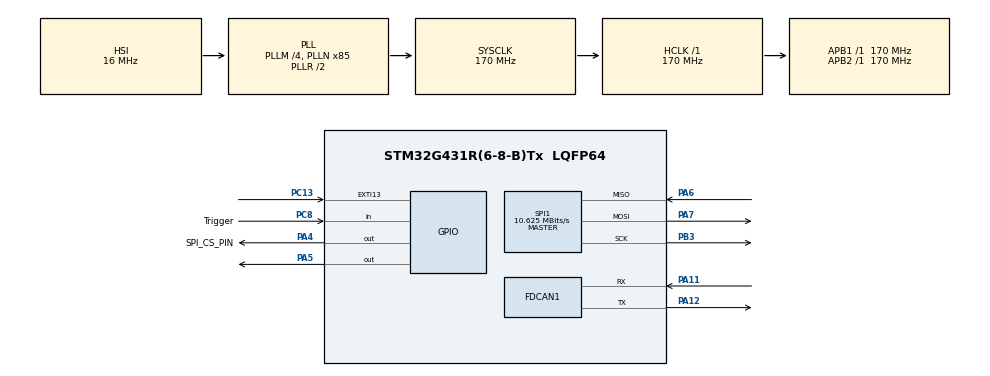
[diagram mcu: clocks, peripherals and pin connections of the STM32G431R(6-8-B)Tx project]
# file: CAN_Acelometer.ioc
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FDCAN1.AutoRetransmission=ENABLE
FDCAN1.CalculateBaudRateNominal=500000
FDCAN1.CalculateTimeBitNominal=2000
FDCAN1.CalculateTimeQuantumNominal=200.0
FDCAN1.NominalPrescaler=34
FDCAN1.NominalTimeSeg1=6
FDCAN1.NominalTimeSeg2=3
Mcu.Family=STM32G4
Mcu.Name=STM32G431R(6-8-B)Tx
Mcu.Package=LQFP64
NUCLEO-G431RB.BUTTON=1
NUCLEO-G431RB.LD1=true
NUCLEO-G431RB.VCP=true
NVIC.EXTI15_10_IRQn=true\:0\:0\:false\:false\:true\:false\:true\:true
NVIC.FDCAN1_IT0_IRQn=true\:0\:0\:false\:false\:true\:true\:true\:true
NVIC.FDCAN1_IT1_IRQn=true\:0\:0\:false\:false\:true\:true\:true\:true
NVIC.PriorityGroup=NVIC_PRIORITYGROUP_4
NVIC.TIM2_IRQn=true\:0\:0\:false\:false\:true\:true\:true\:true
PA11.Mode=FDCAN_Activate
PA11.Signal=FDCAN1_RX
PA12.Mode=FDCAN_Activate
PA12.Signal=FDCAN1_TX
PA13.GPIO_Label=T_SWDIO
PA13.Signal=SYS_JTMS-SWDIO
PA14.GPIO_Label=T_SWCLK
PA14.Signal=SYS_JTCK-SWCLK
PA2.Signal=LPUART1_TX
PA3.Signal=LPUART1_RX
PA4.GPIO_Label=SPI_CS_PIN
PA4.Signal=GPIO_Output
PA5.Signal=GPIO_Output
PA6.Mode=Full_Duplex_Master
PA6.Signal=SPI1_MISO
PA7.Mode=Full_Duplex_Master
PA7.Signal=SPI1_MOSI
PB3.Mode=Full_Duplex_Master
PB3.Signal=SPI1_SCK
PC13.Signal=GPXTI13
PC14-OSC32_IN.GPIO_Label=RCC_OSC32_OUT
PC14-OSC32_IN.Signal=RCC_OSC32_IN
PC15-OSC32_OUT.GPIO_Label=RCC_OSC32_OUT
PC15-OSC32_OUT.Signal=RCC_OSC32_OUT
PC8.GPIO_Label=Trigger
PC8.GPIO_PuPd=GPIO_PULLDOWN
PC8.Signal=GPIO_Input
PF0-OSC_IN.GPIO_Label=RCC_OSC_IN
PF0-OSC_IN.Signal=RCC_OSC_IN
PF1-OSC_OUT.GPIO_Label=RCC_OSC_OUT
PF1-OSC_OUT.Signal=RCC_OSC_OUT
ProjectManager.HeapSize=0x200
ProjectManager.StackSize=0x400
ProjectManager.TargetToolchain=STM32CubeIDE
RCC.ADC12Freq_Value=170000000
RCC.AHBFreq_Value=170000000
RCC.APB1Freq_Value=170000000
RCC.APB1TimFreq_Value=170000000
RCC.APB2Freq_Value=170000000
RCC.APB2TimFreq_Value=170000000
RCC.CortexFreq_Value=170000000
RCC.EXTERNAL_CLOCK_VALUE=12288000
RCC.HCLKFreq_Value=170000000
RCC.HSE_VALUE=24000000
RCC.HSI48_VALUE=48000000
RCC.HSI_VALUE=16000000
RCC.LSE_VALUE=32768
RCC.PLLM=RCC_PLLM_DIV4
RCC.PLLN=85
RCC.RTCClockSelection=RCC_RTCCLKSOURCE_LSE
RCC.SYSCLKFreq_VALUE=170000000
RCC.SYSCLKSource=RCC_SYSCLKSOURCE_PLLCLK
RCC.USBFreq_Value=170000000
RCC.VCOOutputFreq_Value=340000000
SPI1.BaudRatePrescaler=SPI_BAUDRATEPRESCALER_16
SPI1.CLKPhase=SPI_PHASE_2EDGE
SPI1.CLKPolarity=SPI_POLARITY_HIGH
SPI1.CalculateBaudRate=10.625 MBits/s
SPI1.DataSize=SPI_DATASIZE_8BIT
SPI1.Direction=SPI_DIRECTION_2LINES
SPI1.Mode=SPI_MODE_MASTER
SPI1.VirtualType=VM_MASTER
TIM2.PeriodNoDither=999
TIM2.Prescaler=169
VP_NUCLEO-G431RB_VS_BSP_COMMON.Mode=COMMON
VP_SYS_VS_DBSignals.Mode=DisableDeadBatterySignals
VP_TIM2_VS_ClockSourceINT.Mode=Internal
board=NUCLEO-G431RB

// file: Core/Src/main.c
/* USER CODE BEGIN Header */
/**
  ******************************************************************************
  * @file           : main.c
  * @brief          : Main program body
  ******************************************************************************
  * @attention
  *
  * Copyright (c) 2025 STMicroelectronics.
  * All rights reserved.
  *
  * This software is licensed under terms that can be found in the LICENSE file
  * in the root directory of this software component.
  * If no LICENSE file comes with this software, it is provided AS-IS.
  *
  ******************************************************************************
  */
/* USER CODE END Header */
#include "main.h"

/* USER CODE BEGIN Includes */
#include "stdio.h"
#include "string.h"
#include <inttypes.h>  // ganz oben für PRIX32

/* USER CODE END Includes */

COM_InitTypeDef BspCOMInit;
FDCAN_HandleTypeDef hfdcan1;

SPI_HandleTypeDef hspi1;

TIM_HandleTypeDef htim2;

void SystemClock_Config(void);
static void MX_GPIO_Init(void);
static void MX_SPI1_Init(void);
static void MX_TIM2_Init(void);
static void MX_FDCAN1_Init(void);
/* USER CODE BEGIN PFP */
#define SAMPLE_COUNT 1000
typedef struct {
    int16_t x;
    int16_t y;
    int16_t z;
} AccelSample;

AccelSample accelBuffer[SAMPLE_COUNT];
volatile uint16_t sampleIndex = 0;
volatile uint8_t recording = 0;
volatile uint8_t triggered = 0;
volatile uint8_t startSampling = 0;
#define CAN_ID_HEADER 0x321
#define CAN_DLC 8
volatile uint8_t can_send_requested = 0;
/* USER CODE END PFP */

/* USER CODE BEGIN 0 */
#define ADXL_CS_LOW()  HAL_GPIO_WritePin(SPI_CS_PIN_GPIO_Port, SPI_CS_PIN_Pin, GPIO_PIN_RESET)
#define ADXL_CS_HIGH() HAL_GPIO_WritePin(SPI_CS_PIN_GPIO_Port, SPI_CS_PIN_Pin, GPIO_PIN_SET)

uint8_t calculate_crc8(uint8_t *data, uint16_t length)
{
    uint8_t crc = 0x00;
    for (uint16_t i = 0; i < length; i++)
    {
        crc ^= data[i];
        for (uint8_t j = 0; j < 8; j++)
        {
            crc = (crc & 0x80) ? (crc << 1) ^ 0x07 : (crc << 1);
        }
    }
    return crc;
}

uint8_t ADXL345_ReadRegister(uint8_t reg)
{
    uint8_t tx[] = { 0x80 | reg, 0x00 }; // 0x80 = Lesezugriff
    uint8_t rx[2];

    ADXL_CS_LOW();
    HAL_SPI_TransmitReceive(&hspi1, tx, rx, 2, HAL_MAX_DELAY);
    ADXL_CS_HIGH();

    return rx[1]; // Registerwert steckt im zweiten Byte
}

void ADXL345_WriteRegister(uint8_t reg, uint8_t value)
{
    uint8_t tx[2];
    tx[0] = reg & 0x3F;     // Bit 7 = 0 = Write, Bit 6 = 0 = kein Multi
    tx[1] = value;

    ADXL_CS_LOW();
    HAL_Delay(1);           // WICHTIG: kleiner Delay vor dem Transfer
    HAL_SPI_Transmit(&hspi1, tx, 2, HAL_MAX_DELAY);
    HAL_Delay(1);           // WICHTIG: kleiner Delay nach dem Transfer
    ADXL_CS_HIGH();
}
void ADXL345_Init(void)
{
    // ±8g: write 0x02 to DATA_FORMAT (0x31)
    ADXL345_WriteRegister(0x31, 0x02);

    // 1 kHz output data rate: write 0x0F to BW_RATE (0x2C)
    ADXL345_WriteRegister(0x2C, 0x0F);

    // Measurement mode: write 0x08 to POWER_CTL (0x2D)
    ADXL345_WriteRegister(0x2D, 0x08);
}
void ADXL345_ReadXYZ(int16_t* x, int16_t* y, int16_t* z)
{
    uint8_t tx[7] = { 0x80 | 0x40 | 0x32 }; // Read | Multi-byte | Start at 0x32
    uint8_t rx[7] = {0};

    ADXL_CS_LOW();
    HAL_SPI_TransmitReceive(&hspi1, tx, rx, 7, HAL_MAX_DELAY);
    ADXL_CS_HIGH();

    *x = (int16_t)((rx[2] << 8) | rx[1]);
    *y = (int16_t)((rx[4] << 8) | rx[3]);
    *z = (int16_t)((rx[6] << 8) | rx[5]);
}
void HAL_TIM_PeriodElapsedCallback(TIM_HandleTypeDef *htim)
{
    if (htim->Instance == TIM2 && recording && sampleIndex < SAMPLE_COUNT)
    {
        ADXL345_ReadXYZ(&accelBuffer[sampleIndex].x,
                        &accelBuffer[sampleIndex].y,
                        &accelBuffer[sampleIndex].z);
        sampleIndex++;

        if (sampleIndex >= SAMPLE_COUNT)
        {
            recording = 0; // fertig
        }
    }
}

void send_data_over_can(void)
{
    FDCAN_TxHeaderTypeDef txHeader = {0};
    txHeader.Identifier = CAN_ID_HEADER;
    txHeader.IdType = FDCAN_STANDARD_ID;
    txHeader.TxFrameType = FDCAN_DATA_FRAME;
    txHeader.DataLength = FDCAN_DLC_BYTES_8;
    txHeader.ErrorStateIndicator = FDCAN_ESI_ACTIVE;
    txHeader.BitRateSwitch = FDCAN_BRS_OFF;
    txHeader.FDFormat = FDCAN_CLASSIC_CAN;
    txHeader.TxEventFifoControl = FDCAN_NO_TX_EVENTS;
    txHeader.MessageMarker = 0;

    uint8_t txData[8];
    uint32_t totalBytes = SAMPLE_COUNT * sizeof(AccelSample); // 1000 × 6 = 6000
    uint16_t totalLen = totalBytes + 1; // +1 CRC

    //  1. Header senden (2 Byte Länge)
    txData[0] = (uint8_t)(totalLen >> 8);
    txData[1] = (uint8_t)(totalLen & 0xFF);
    memset(&txData[2], 0xFF, 6); // Rest füllen
    HAL_FDCAN_AddMessageToTxFifoQ(&hfdcan1, &txHeader, txData);
    HAL_Delay(1); // Optional: Bus entlasten

    // 2. Payload vorbereiten
    uint8_t rawData[totalLen];
    memcpy(rawData, (uint8_t*)accelBuffer, totalBytes);

    // CRC8 berechnen
    uint8_t crc = 0;
    for (uint16_t i = 0; i < totalBytes; i++)
    {
        crc ^= rawData[i];
        for (uint8_t j = 0; j < 8; j++)
        {
            if (crc & 0x80)
                crc = (crc << 1) ^ 0x07;
            else
                crc <<= 1;
        }
    }
    rawData[totalBytes] = crc;
    // 🔎 Debug-Ausgabe
    printf("➡️  CRC berechnet: 0x%02X (vor dem Senden)\r\n", crc);
    printf("📦 Gesamtlänge (inkl. CRC): %u Bytes\n", totalLen);
    // 📤 3. In 8-Byte-Pakete aufteilen und senden
    for (uint16_t i = 0; i < totalLen; i += 8)
    {
        uint8_t len = (totalLen - i >= 8) ? 8 : (totalLen - i);
        memset(txData, 0xFF, 8);
        memcpy(txData, &rawData[i], len);

        HAL_FDCAN_AddMessageToTxFifoQ(&hfdcan1, &txHeader, txData);
        HAL_Delay(1); // Optional für Stabilität
    }

    printf("CAN-Übertragung abgeschlossen (%d Bytes)\r\n", totalLen);
}

void HAL_FDCAN_RxFifo0Callback(FDCAN_HandleTypeDef *hfdcan, uint32_t RxFifo0ITs)
{
    if (RxFifo0ITs & FDCAN_IT_RX_FIFO0_NEW_MESSAGE)
    {
        // 🔧 Diese beiden Variablen MÜSSEN hier oben deklariert sein
        FDCAN_RxHeaderTypeDef rxHeader;
        uint8_t rxData[8];

        // ✅ Jetzt dürfen wir sie verwenden
        if (HAL_FDCAN_GetRxMessage(hfdcan, FDCAN_RX_FIFO0, &rxHeader, rxData) != HAL_OK) {
            printf("❌ Fehler beim Lesen der CAN-Nachricht\r\n");
            return;
        }

        if (rxHeader.Identifier == 0x123 && rxData[0] == 0xAB)
        {
            printf("📥 CAN-Anfrage empfangen (ID=0x123, Data=0xAB)\r\n");
            can_send_requested = 1;  // ⬅ außerhalb des IRQ senden!
        }
        else
        {
            printf("⚠️ Falsche Nachricht: ID=0x%03" PRIX32 ", Data=0x%02X\r\n", rxHeader.Identifier, rxData[0]);
        }
    }
}
/* USER CODE END 0 */

int main(void)
{

  /* MCU Configuration--------------------------------------------------------*/

  /* Reset of all peripherals, Initializes the Flash interface and the Systick. */
  HAL_Init();

  /* Configure the system clock */
  SystemClock_Config();

  /* Initialize all configured peripherals */
  MX_GPIO_Init();
  MX_SPI1_Init();
  MX_TIM2_Init();
  MX_FDCAN1_Init();
  /* USER CODE BEGIN 2 */
  HAL_TIM_Base_Start_IT(&htim2);
  if (HAL_FDCAN_Start(&hfdcan1) != HAL_OK)
  {
      Error_Handler();
  }
  /* USER CODE END 2 */

  /* Initialize leds */
  BSP_LED_Init(LED_GREEN);

  /* Initialize USER push-button, will be used to trigger an interrupt each time it's pressed.*/
  BSP_PB_Init(BUTTON_USER, BUTTON_MODE_EXTI);

  /* Initialize COM1 port (115200, 8 bits (7-bit data + 1 stop bit), no parity */
  BspCOMInit.BaudRate   = 115200;
  BspCOMInit.WordLength = COM_WORDLENGTH_8B;
  BspCOMInit.StopBits   = COM_STOPBITS_1;
  BspCOMInit.Parity     = COM_PARITY_NONE;
  BspCOMInit.HwFlowCtl  = COM_HWCONTROL_NONE;
  if (BSP_COM_Init(COM1, &BspCOMInit) != BSP_ERROR_NONE)
  {
    Error_Handler();
  }

  /* Infinite loop */
  /* USER CODE BEGIN WHILE */
  HAL_Delay(100); // optional: kurz warten nach Reset

  uint8_t who_am_i = ADXL345_ReadRegister(0x00); // DEVID-Register
  printf("ADXL345 WHO_AM_I: 0x%02X\r\n", who_am_i);
  ADXL345_Init();
  printf("ADXL345 init done\r\n");
  uint8_t power_ctl = ADXL345_ReadRegister(0x2D);
  printf("POWER_CTL: 0x%02X\r\n", power_ctl);

  while (1)
  {
	    // Trigger prüfen
	    if (triggered == 0 && HAL_GPIO_ReadPin(Trigger_GPIO_Port, Trigger_Pin) == GPIO_PIN_SET)
	    {
	        printf(" Trigger erkannt\n");
	        triggered = 1;
	        startSampling = 1;
	    }

	    // Aufnahme starten
	    if (startSampling && recording == 0)
	    {
	        printf("Aufzeichnung startet...\r\n");
	        sampleIndex = 0;
	        recording = 1;
	        startSampling = 0;
	        BSP_LED_On(LED_GREEN);
	    }

	    // Ausgabe nach der Aufzeichnung
	    if (recording == 0 && sampleIndex == SAMPLE_COUNT)
	    {
	        printf(" Aufzeichnung abgeschlossen – sende Daten:\r\n");

	        for (int i = 0; i < SAMPLE_COUNT; i++)
	        {
	            printf("%d,%d,%d\r\n", accelBuffer[i].x, accelBuffer[i].y, accelBuffer[i].z);
	            HAL_Delay(1);  // optional: UART entlasten
	        }

	        sampleIndex = 0;
	        triggered = 0;
	        BSP_LED_Off(LED_GREEN);
	    }

	    // 🔁 WICHTIG: CAN-Sendeanforderung auswerten – IMMER prüfen!
	    if (can_send_requested)
	    {
	        can_send_requested = 0;
	        send_data_over_can();  // wird außerhalb vom IRQ sicher ausgeführt
	    }

    /* USER CODE END WHILE */

  }
}

void SystemClock_Config(void)
{
  RCC_OscInitTypeDef RCC_OscInitStruct = {0};
  RCC_ClkInitTypeDef RCC_ClkInitStruct = {0};

  /** Configure the main internal regulator output voltage
  */
  HAL_PWREx_ControlVoltageScaling(PWR_REGULATOR_VOLTAGE_SCALE1_BOOST);

  /** Initializes the RCC Oscillators according to the specified parameters
  * in the RCC_OscInitTypeDef structure.
  */
  RCC_OscInitStruct.OscillatorType = RCC_OSCILLATORTYPE_HSI;
  RCC_OscInitStruct.HSIState = RCC_HSI_ON;
  RCC_OscInitStruct.HSICalibrationValue = RCC_HSICALIBRATION_DEFAULT;
  RCC_OscInitStruct.PLL.PLLState = RCC_PLL_ON;
  RCC_OscInitStruct.PLL.PLLSource = RCC_PLLSOURCE_HSI;
  RCC_OscInitStruct.PLL.PLLM = RCC_PLLM_DIV4;
  RCC_OscInitStruct.PLL.PLLN = 85;
  RCC_OscInitStruct.PLL.PLLP = RCC_PLLP_DIV2;
  RCC_OscInitStruct.PLL.PLLQ = RCC_PLLQ_DIV2;
  RCC_OscInitStruct.PLL.PLLR = RCC_PLLR_DIV2;
  if (HAL_RCC_OscConfig(&RCC_OscInitStruct) != HAL_OK)
  {
    Error_Handler();
  }

  /** Initializes the CPU, AHB and APB buses clocks
  */
  RCC_ClkInitStruct.ClockType = RCC_CLOCKTYPE_HCLK|RCC_CLOCKTYPE_SYSCLK
                              |RCC_CLOCKTYPE_PCLK1|RCC_CLOCKTYPE_PCLK2;
  RCC_ClkInitStruct.SYSCLKSource = RCC_SYSCLKSOURCE_PLLCLK;
  RCC_ClkInitStruct.AHBCLKDivider = RCC_SYSCLK_DIV1;
  RCC_ClkInitStruct.APB1CLKDivider = RCC_HCLK_DIV1;
  RCC_ClkInitStruct.APB2CLKDivider = RCC_HCLK_DIV1;

  if (HAL_RCC_ClockConfig(&RCC_ClkInitStruct, FLASH_LATENCY_4) != HAL_OK)
  {
    Error_Handler();
  }
}

static void MX_FDCAN1_Init(void)
{

  hfdcan1.Instance = FDCAN1;
  hfdcan1.Init.ClockDivider = FDCAN_CLOCK_DIV1;
  hfdcan1.Init.FrameFormat = FDCAN_FRAME_CLASSIC;
  hfdcan1.Init.Mode = FDCAN_MODE_NORMAL;
  hfdcan1.Init.AutoRetransmission = ENABLE;
  hfdcan1.Init.TransmitPause = DISABLE;
  hfdcan1.Init.ProtocolException = DISABLE;
  hfdcan1.Init.NominalPrescaler = 34;
  hfdcan1.Init.NominalSyncJumpWidth = 1;
  hfdcan1.Init.NominalTimeSeg1 = 6;
  hfdcan1.Init.NominalTimeSeg2 = 3;
  hfdcan1.Init.DataPrescaler = 34;
  hfdcan1.Init.DataSyncJumpWidth = 1;
  hfdcan1.Init.DataTimeSeg1 = 1;
  hfdcan1.Init.DataTimeSeg2 = 1;
  hfdcan1.Init.StdFiltersNbr = 1;
  hfdcan1.Init.ExtFiltersNbr = 0;
  hfdcan1.Init.TxFifoQueueMode = FDCAN_TX_FIFO_OPERATION;
  if (HAL_FDCAN_Init(&hfdcan1) != HAL_OK)
  {
    Error_Handler();
  }
  /* USER CODE BEGIN FDCAN1_Init 2 */
  FDCAN_FilterTypeDef sFilter;
  sFilter.IdType = FDCAN_STANDARD_ID;
  sFilter.FilterIndex = 0;
  sFilter.FilterType = FDCAN_FILTER_MASK;
  sFilter.FilterConfig = FDCAN_FILTER_TO_RXFIFO0;
  sFilter.FilterID1 = 0x123;
  sFilter.FilterID2 = 0x7FF; // Alle Bits vergleichen
  HAL_FDCAN_ConfigFilter(&hfdcan1, &sFilter);
  HAL_FDCAN_ActivateNotification(&hfdcan1, FDCAN_IT_RX_FIFO0_NEW_MESSAGE, 0);
  /* USER CODE END FDCAN1_Init 2 */

}

static void MX_SPI1_Init(void)
{

  /* SPI1 parameter configuration*/
  hspi1.Instance = SPI1;
  hspi1.Init.Mode = SPI_MODE_MASTER;
  hspi1.Init.Direction = SPI_DIRECTION_2LINES;
  hspi1.Init.DataSize = SPI_DATASIZE_8BIT;
  hspi1.Init.CLKPolarity = SPI_POLARITY_HIGH;
  hspi1.Init.CLKPhase = SPI_PHASE_2EDGE;
  hspi1.Init.NSS = SPI_NSS_SOFT;
  hspi1.Init.BaudRatePrescaler = SPI_BAUDRATEPRESCALER_16;
  hspi1.Init.FirstBit = SPI_FIRSTBIT_MSB;
  hspi1.Init.TIMode = SPI_TIMODE_DISABLE;
  hspi1.Init.CRCCalculation = SPI_CRCCALCULATION_DISABLE;
  hspi1.Init.CRCPolynomial = 7;
  hspi1.Init.CRCLength = SPI_CRC_LENGTH_DATASIZE;
  hspi1.Init.NSSPMode = SPI_NSS_PULSE_DISABLE;
  if (HAL_SPI_Init(&hspi1) != HAL_OK)
  {
    Error_Handler();
  }

}

static void MX_TIM2_Init(void)
{

  TIM_ClockConfigTypeDef sClockSourceConfig = {0};
  TIM_MasterConfigTypeDef sMasterConfig = {0};

  htim2.Instance = TIM2;
  htim2.Init.Prescaler = 169;
  htim2.Init.CounterMode = TIM_COUNTERMODE_UP;
  htim2.Init.Period = 999;
  htim2.Init.ClockDivision = TIM_CLOCKDIVISION_DIV1;
  htim2.Init.AutoReloadPreload = TIM_AUTORELOAD_PRELOAD_DISABLE;
  if (HAL_TIM_Base_Init(&htim2) != HAL_OK)
  {
    Error_Handler();
  }
  sClockSourceConfig.ClockSource = TIM_CLOCKSOURCE_INTERNAL;
  if (HAL_TIM_ConfigClockSource(&htim2, &sClockSourceConfig) != HAL_OK)
  {
    Error_Handler();
  }
  sMasterConfig.MasterOutputTrigger = TIM_TRGO_RESET;
  sMasterConfig.MasterSlaveMode = TIM_MASTERSLAVEMODE_DISABLE;
  if (HAL_TIMEx_MasterConfigSynchronization(&htim2, &sMasterConfig) != HAL_OK)
  {
    Error_Handler();
  }

}

static void MX_GPIO_Init(void)
{
  GPIO_InitTypeDef GPIO_InitStruct = {0};

  /* GPIO Ports Clock Enable */
  __HAL_RCC_GPIOC_CLK_ENABLE();
  __HAL_RCC_GPIOF_CLK_ENABLE();
  __HAL_RCC_GPIOA_CLK_ENABLE();
  __HAL_RCC_GPIOB_CLK_ENABLE();

  /*Configure GPIO pin Output Level */
  HAL_GPIO_WritePin(SPI_CS_PIN_GPIO_Port, SPI_CS_PIN_Pin, GPIO_PIN_RESET);

  /*Configure GPIO pin : SPI_CS_PIN_Pin */
  GPIO_InitStruct.Pin = SPI_CS_PIN_Pin;
  GPIO_InitStruct.Mode = GPIO_MODE_OUTPUT_PP;
  GPIO_InitStruct.Pull = GPIO_NOPULL;
  GPIO_InitStruct.Speed = GPIO_SPEED_FREQ_LOW;
  HAL_GPIO_Init(SPI_CS_PIN_GPIO_Port, &GPIO_InitStruct);

  /*Configure GPIO pin : Trigger_Pin */
  GPIO_InitStruct.Pin = Trigger_Pin;
  GPIO_InitStruct.Mode = GPIO_MODE_INPUT;
  GPIO_InitStruct.Pull = GPIO_PULLDOWN;
  HAL_GPIO_Init(Trigger_GPIO_Port, &GPIO_InitStruct);

  /* USER CODE BEGIN MX_GPIO_Init_2 */
  /* --- FDCAN1 TX / RX ------------------------------------------------------- */
  GPIO_InitStruct.Pin       = GPIO_PIN_12 | GPIO_PIN_11;   // PA12 = TX, PA11 = RX
  GPIO_InitStruct.Mode      = GPIO_MODE_AF_PP;
  GPIO_InitStruct.Pull      = GPIO_NOPULL;
  GPIO_InitStruct.Speed     = GPIO_SPEED_FREQ_HIGH;
  GPIO_InitStruct.Alternate = GPIO_AF9_FDCAN1;             // *** WICHTIG ***
  HAL_GPIO_Init(GPIOA, &GPIO_InitStruct);
  /* USER CODE END MX_GPIO_Init_2 */
}

void Error_Handler(void)
{
  __disable_irq();
  while (1)
  {
  }
}
